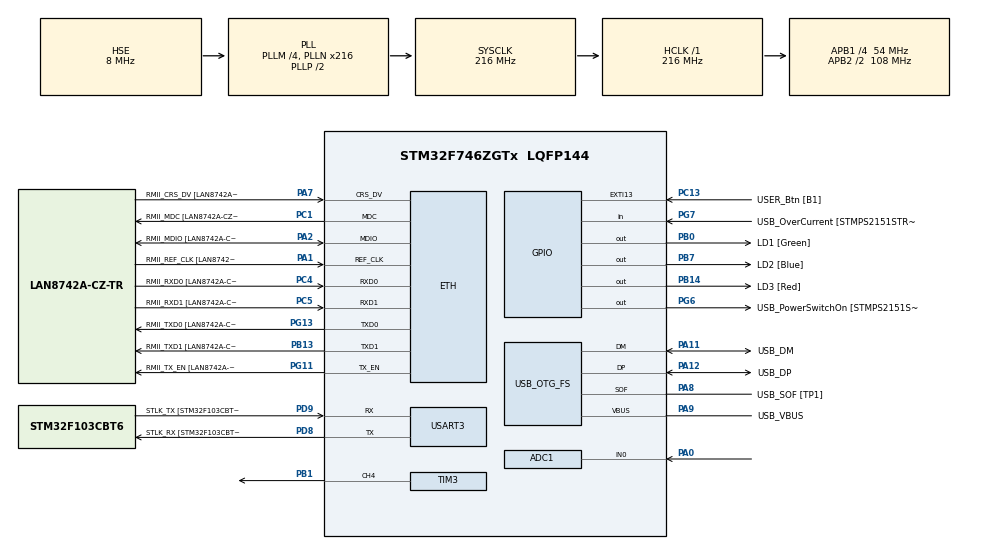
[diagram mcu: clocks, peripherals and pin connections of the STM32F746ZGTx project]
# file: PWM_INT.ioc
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ADC1.ContinuousConvMode=ENABLE
ADC1.EnableAnalogWatchDog=false
ADC1.InjNumberOfConversion=0
ADC1.NbrOfConversion=1
ADC1.NbrOfConversionFlag=1
ADC1.SamplingTime-0\#ChannelRegularConversion=ADC_SAMPLETIME_28CYCLES
ADC1.master=1
Dma.ADC1.0.Direction=DMA_PERIPH_TO_MEMORY
Dma.ADC1.0.FIFOMode=DMA_FIFOMODE_DISABLE
Dma.ADC1.0.Instance=DMA2_Stream0
Dma.ADC1.0.MemDataAlignment=DMA_MDATAALIGN_WORD
Dma.ADC1.0.MemInc=DMA_MINC_ENABLE
Dma.ADC1.0.Mode=DMA_CIRCULAR
Dma.ADC1.0.PeriphDataAlignment=DMA_PDATAALIGN_WORD
Dma.ADC1.0.PeriphInc=DMA_PINC_DISABLE
Dma.ADC1.0.Priority=DMA_PRIORITY_LOW
Dma.Request0=ADC1
ETH.MediaInterface=ETH_MEDIA_INTERFACE_RMII
ETH.PHY_Name=LAN8742A_PHY_ADDRESS
ETH.PHY_Value=0
ETH.PhyAddress=0
Mcu.Family=STM32F7
Mcu.Name=STM32F746ZGTx
Mcu.Package=LQFP144
NVIC.ADC_IRQn=true\:0\:0\:false\:false\:true\:true\:true\:true
NVIC.DMA2_Stream0_IRQn=true\:0\:0\:false\:false\:true\:false\:true\:true
NVIC.PriorityGroup=NVIC_PRIORITYGROUP_4
NVIC.TIM7_IRQn=true\:0\:0\:false\:false\:true\:true\:true\:true
PA0/WKUP.Signal=ADCx_IN0
PA1.GPIO_Label=RMII_REF_CLK [LAN8742A-CZ-TR_REFCLK0]
PA1.Mode=RMII
PA1.Signal=ETH_REF_CLK
PA10.GPIO_Label=USB_ID
PA10.Signal=USB_OTG_FS_ID
PA11.GPIO_Label=USB_DM
PA11.Mode=Device_Only
PA11.Signal=USB_OTG_FS_DM
PA12.GPIO_Label=USB_DP
PA12.Mode=Device_Only
PA12.Signal=USB_OTG_FS_DP
PA13.GPIO_Label=TMS
PA13.Mode=Serial_Wire
PA13.Signal=SYS_JTMS-SWDIO
PA14.GPIO_Label=TCK
PA14.Mode=Serial_Wire
PA14.Signal=SYS_JTCK-SWCLK
PA2.GPIO_Label=RMII_MDIO [LAN8742A-CZ-TR_MDIO]
PA2.Mode=RMII
PA2.Signal=ETH_MDIO
PA7.GPIO_Label=RMII_CRS_DV [LAN8742A-CZ-TR_CRS_DV]
PA7.Mode=RMII
PA7.Signal=ETH_CRS_DV
PA8.GPIO_Label=USB_SOF [TP1]
PA8.Mode=Activate_SOF_FS
PA8.Signal=USB_OTG_FS_SOF
PA9.GPIO_Label=USB_VBUS
PA9.Mode=Activate_VBUS
PA9.Signal=USB_OTG_FS_VBUS
PB0.GPIO_Label=LD1 [Green]
PB0.Signal=GPIO_Output
PB1.Signal=S_TIM3_CH4
PB13.GPIO_Label=RMII_TXD1 [LAN8742A-CZ-TR_TXD1]
PB13.Mode=RMII
PB13.Signal=ETH_TXD1
PB14.GPIO_Label=LD3 [Red]
PB14.Signal=GPIO_Output
PB3.GPIO_Label=SW0
PB3.Signal=SYS_JTDO-SWO
PB7.GPIO_Label=LD2 [Blue]
PB7.Signal=GPIO_Output
PC1.GPIO_Label=RMII_MDC [LAN8742A-CZ-TR_MDC]
PC1.Mode=RMII
PC1.Signal=ETH_MDC
PC13.GPIO_Label=USER_Btn [B1]
PC13.Signal=GPXTI13
PC14/OSC32_IN.Signal=RCC_OSC32_IN
PC15/OSC32_OUT.Signal=RCC_OSC32_OUT
PC4.GPIO_Label=RMII_RXD0 [LAN8742A-CZ-TR_RXD0]
PC4.Mode=RMII
PC4.Signal=ETH_RXD0
PC5.GPIO_Label=RMII_RXD1 [LAN8742A-CZ-TR_RXD1]
PC5.Mode=RMII
PC5.Signal=ETH_RXD1
PD8.GPIO_Label=STLK_RX [STM32F103CBT6_PA3]
PD8.Mode=Asynchronous
PD8.Signal=USART3_TX
PD9.GPIO_Label=STLK_TX [STM32F103CBT6_PA2]
PD9.Mode=Asynchronous
PD9.Signal=USART3_RX
PG11.GPIO_Label=RMII_TX_EN [LAN8742A-CZ-TR_TXEN]
PG11.Mode=RMII
PG11.Signal=ETH_TX_EN
PG13.GPIO_Label=RMII_TXD0 [LAN8742A-CZ-TR_TXD0]
PG13.Mode=RMII
PG13.Signal=ETH_TXD0
PG6.GPIO_Label=USB_PowerSwitchOn [STMPS2151STR_EN]
PG6.Signal=GPIO_Output
PG7.GPIO_Label=USB_OverCurrent [STMPS2151STR_FAULT]
PG7.Signal=GPIO_Input
PH0/OSC_IN.GPIO_Label=MCO [STM32F103CBT6_PA8]
PH0/OSC_IN.Mode=HSE-External-Oscillator
PH0/OSC_IN.Signal=RCC_OSC_IN
PH1/OSC_OUT.Mode=HSE-External-Oscillator
PH1/OSC_OUT.Signal=RCC_OSC_OUT
ProjectManager.HeapSize=0x200
ProjectManager.StackSize=0x400
ProjectManager.TargetToolchain=STM32CubeIDE
RCC.48MHZClocksFreq_Value=24000000
RCC.AHBFreq_Value=216000000
RCC.APB1CLKDivider=RCC_HCLK_DIV4
RCC.APB1Freq_Value=54000000
RCC.APB1TimFreq_Value=108000000
RCC.APB2CLKDivider=RCC_HCLK_DIV2
RCC.APB2Freq_Value=108000000
RCC.APB2TimFreq_Value=216000000
RCC.CortexFreq_Value=216000000
RCC.HCLKFreq_Value=216000000
RCC.HSE_VALUE=8000000
RCC.HSI_VALUE=16000000
RCC.LSE_VALUE=32768
RCC.PLLM=4
RCC.PLLMUL=RCC_PLL_MUL9
RCC.PLLN=216
RCC.PLLQ=9
RCC.PRESCALERUSB=RCC_USBCLKSOURCE_PLL_DIV1_5
RCC.SYSCLKFreq_VALUE=216000000
RCC.SYSCLKSource=RCC_SYSCLKSOURCE_PLLCLK
RCC.SYSCLKSourceVirtual=RCC_SYSCLKSOURCE_PLLCLK
RCC.USBFreq_Value=48000000
RCC.VCOOutputFreq_Value=432000000
SH.ADCx_IN0.0=ADC1_IN0,IN0
SH.S_TIM3_CH4.0=TIM3_CH4,PWM Generation4 CH4
TIM3.Channel-PWM\ Generation4\ CH4=TIM_CHANNEL_4
TIM3.Period=ARR
TIM3.Prescaler=PSC
TIM7.Period=5000
TIM7.Prescaler=840
USART3.VirtualMode-Asynchronous=VM_ASYNC
USB_OTG_FS.VirtualMode=Device_Only
VP_ADC1_TempSens_Input.Mode=IN-TempSens
VP_TIM3_VS_ClockSourceINT.Mode=Internal
VP_TIM7_VS_ClockSourceINT.Mode=Enable_Timer
board=NUCLEO-F746ZG

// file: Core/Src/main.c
/* USER CODE BEGIN Header */
/**
  ******************************************************************************
  * @file           : main.c
  * @brief          : Main program body
  ******************************************************************************
  * @attention
  *
  * <h2><center>&copy; Copyright (c) 2021 STMicroelectronics.
  * All rights reserved.</center></h2>
  *
  * This software component is licensed by ST under BSD 3-Clause license,
  * the "License"; You may not use this file except in compliance with the
  * License. You may obtain a copy of the License at:
  *                        opensource.org/licenses/BSD-3-Clause
  *
  ******************************************************************************
  */
/* USER CODE END Header */
#include "main.h"

/* USER CODE BEGIN Includes */
#define PSC 210
#define ARR 400
/* USER CODE END Includes */

ADC_HandleTypeDef hadc1;
DMA_HandleTypeDef hdma_adc1;

ETH_HandleTypeDef heth;

TIM_HandleTypeDef htim3;
TIM_HandleTypeDef htim7;

UART_HandleTypeDef huart3;

PCD_HandleTypeDef hpcd_USB_OTG_FS;

void SystemClock_Config(void);
static void MX_GPIO_Init(void);
static void MX_ETH_Init(void);
static void MX_TIM3_Init(void);
static void MX_TIM7_Init(void);
static void MX_USART3_UART_Init(void);
static void MX_ADC1_Init(void);
static void MX_DMA_Init(void);
static void MX_USB_OTG_FS_PCD_Init(void);

/* USER CODE BEGIN 0 */
#define Avg_Slope .0025
#define V25 0.76
#define VSENSE 3.3/4096

uint32_t ADC_VAL = 0;
float Temp = 0;

void HAL_ADC_ConvCpltCallback(ADC_HandleTypeDef* hadc)
{
	Temp = ((V25 - VSENSE*ADC_VAL)/ Avg_Slope) + 25;
}

/* USER CODE END 0 */

int main(void)
{

  /* MCU Configuration--------------------------------------------------------*/

  /* Reset of all peripherals, Initializes the Flash interface and the Systick. */
  HAL_Init();

  /* Configure the system clock */
  SystemClock_Config();

  /* Initialize all configured peripherals */
  MX_GPIO_Init();
//  MX_ETH_Init();
  MX_TIM3_Init();
  MX_TIM7_Init();
  MX_USART3_UART_Init();
  MX_ADC1_Init();
  MX_DMA_Init();
  MX_USB_OTG_FS_PCD_Init();
  /* USER CODE BEGIN 2 */
  HAL_TIM_PWM_Start(&htim3, TIM_CHANNEL_4);
  HAL_ADC_Start_DMA(&hadc1, &ADC_VAL, ADC_VAL);
  /* USER CODE END 2 */

  /* Infinite loop */
  /* USER CODE BEGIN WHILE */
  HAL_NVIC_SetPriority(TIM7_IRQn,0, 0);
  HAL_NVIC_EnableIRQ(TIM7_IRQn);

  while (1)
  {
    /* USER CODE END WHILE */

    /* USER CODE BEGIN 3 */
	  TIM3->CCR4
	  = 400;
	  HAL_GPIO_TogglePin(GPIOB, LD3_Pin);

  }
  /* USER CODE END 3 */
}

void SystemClock_Config(void)
{
  RCC_OscInitTypeDef RCC_OscInitStruct = {0};
  RCC_ClkInitTypeDef RCC_ClkInitStruct = {0};
  RCC_PeriphCLKInitTypeDef PeriphClkInitStruct = {0};

  /** Configure the main internal regulator output voltage
  */
  __HAL_RCC_PWR_CLK_ENABLE();
  __HAL_PWR_VOLTAGESCALING_CONFIG(PWR_REGULATOR_VOLTAGE_SCALE1);
  /** Initializes the RCC Oscillators according to the specified parameters
  * in the RCC_OscInitTypeDef structure.
  */
  RCC_OscInitStruct.OscillatorType = RCC_OSCILLATORTYPE_HSE;
  RCC_OscInitStruct.HSEState = RCC_HSE_ON;
  RCC_OscInitStruct.PLL.PLLState = RCC_PLL_ON;
  RCC_OscInitStruct.PLL.PLLSource = RCC_PLLSOURCE_HSE;
  RCC_OscInitStruct.PLL.PLLM = 4;
  RCC_OscInitStruct.PLL.PLLN = 216;
  RCC_OscInitStruct.PLL.PLLP = RCC_PLLP_DIV2;
  RCC_OscInitStruct.PLL.PLLQ = 9;
  if (HAL_RCC_OscConfig(&RCC_OscInitStruct) != HAL_OK)
  {
    Error_Handler();
  }
  /** Activate the Over-Drive mode
  */
  if (HAL_PWREx_EnableOverDrive() != HAL_OK)
  {
    Error_Handler();
  }
  /** Initializes the CPU, AHB and APB buses clocks
  */
  RCC_ClkInitStruct.ClockType = RCC_CLOCKTYPE_HCLK|RCC_CLOCKTYPE_SYSCLK
                              |RCC_CLOCKTYPE_PCLK1|RCC_CLOCKTYPE_PCLK2;
  RCC_ClkInitStruct.SYSCLKSource = RCC_SYSCLKSOURCE_PLLCLK;
  RCC_ClkInitStruct.AHBCLKDivider = RCC_SYSCLK_DIV1;
  RCC_ClkInitStruct.APB1CLKDivider = RCC_HCLK_DIV4;
  RCC_ClkInitStruct.APB2CLKDivider = RCC_HCLK_DIV2;

  if (HAL_RCC_ClockConfig(&RCC_ClkInitStruct, FLASH_LATENCY_7) != HAL_OK)
  {
    Error_Handler();
  }
  PeriphClkInitStruct.PeriphClockSelection = RCC_PERIPHCLK_USART3|RCC_PERIPHCLK_CLK48;
  PeriphClkInitStruct.Usart3ClockSelection = RCC_USART3CLKSOURCE_PCLK1;
  PeriphClkInitStruct.Clk48ClockSelection = RCC_CLK48SOURCE_PLL;
  if (HAL_RCCEx_PeriphCLKConfig(&PeriphClkInitStruct) != HAL_OK)
  {
    Error_Handler();
  }
}

static void MX_ADC1_Init(void)
{

  ADC_ChannelConfTypeDef sConfig = {0};

  /** Configure the global features of the ADC (Clock, Resolution, Data Alignment and number of conversion)
  */
  hadc1.Instance = ADC1;
  hadc1.Init.ClockPrescaler = ADC_CLOCK_SYNC_PCLK_DIV4;
  hadc1.Init.Resolution = ADC_RESOLUTION_12B;
  hadc1.Init.ScanConvMode = ADC_SCAN_DISABLE;
  hadc1.Init.ContinuousConvMode = ENABLE;
  hadc1.Init.DiscontinuousConvMode = DISABLE;
  hadc1.Init.ExternalTrigConvEdge = ADC_EXTERNALTRIGCONVEDGE_NONE;
  hadc1.Init.ExternalTrigConv = ADC_SOFTWARE_START;
  hadc1.Init.DataAlign = ADC_DATAALIGN_RIGHT;
  hadc1.Init.NbrOfConversion = 1;
  hadc1.Init.DMAContinuousRequests = DISABLE;
  hadc1.Init.EOCSelection = ADC_EOC_SINGLE_CONV;
  if (HAL_ADC_Init(&hadc1) != HAL_OK)
  {
    Error_Handler();
  }
  /** Configure for the selected ADC regular channel its corresponding rank in the sequencer and its sample time.
  */
  sConfig.Channel = ADC_CHANNEL_0;
  sConfig.Rank = ADC_REGULAR_RANK_1;
  sConfig.SamplingTime = ADC_SAMPLETIME_28CYCLES;
  if (HAL_ADC_ConfigChannel(&hadc1, &sConfig) != HAL_OK)
  {
    Error_Handler();
  }

}

static void MX_ETH_Init(void)
{

   static uint8_t MACAddr[6];

  heth.Instance = ETH;
  heth.Init.AutoNegotiation = ETH_AUTONEGOTIATION_ENABLE;
  heth.Init.Speed = ETH_SPEED_100M;
  heth.Init.DuplexMode = ETH_MODE_FULLDUPLEX;
  heth.Init.PhyAddress = LAN8742A_PHY_ADDRESS;
  MACAddr[0] = 0x00;
  MACAddr[1] = 0x80;
  MACAddr[2] = 0xE1;
  MACAddr[3] = 0x00;
  MACAddr[4] = 0x00;
  MACAddr[5] = 0x00;
  heth.Init.MACAddr = &MACAddr[0];
  heth.Init.RxMode = ETH_RXPOLLING_MODE;
  heth.Init.ChecksumMode = ETH_CHECKSUM_BY_HARDWARE;
  heth.Init.MediaInterface = ETH_MEDIA_INTERFACE_RMII;

  if (HAL_ETH_Init(&heth) != HAL_OK)
  {
    Error_Handler();
  }

}

static void MX_TIM3_Init(void)
{

  TIM_ClockConfigTypeDef sClockSourceConfig = {0};
  TIM_MasterConfigTypeDef sMasterConfig = {0};
  TIM_OC_InitTypeDef sConfigOC = {0};

  htim3.Instance = TIM3;
  htim3.Init.Prescaler = PSC;
  htim3.Init.CounterMode = TIM_COUNTERMODE_UP;
  htim3.Init.Period = ARR;
  htim3.Init.ClockDivision = TIM_CLOCKDIVISION_DIV1;
  htim3.Init.AutoReloadPreload = TIM_AUTORELOAD_PRELOAD_DISABLE;
  if (HAL_TIM_Base_Init(&htim3) != HAL_OK)
  {
    Error_Handler();
  }
  sClockSourceConfig.ClockSource = TIM_CLOCKSOURCE_INTERNAL;
  if (HAL_TIM_ConfigClockSource(&htim3, &sClockSourceConfig) != HAL_OK)
  {
    Error_Handler();
  }
  if (HAL_TIM_PWM_Init(&htim3) != HAL_OK)
  {
    Error_Handler();
  }
  sMasterConfig.MasterOutputTrigger = TIM_TRGO_RESET;
  sMasterConfig.MasterSlaveMode = TIM_MASTERSLAVEMODE_DISABLE;
  if (HAL_TIMEx_MasterConfigSynchronization(&htim3, &sMasterConfig) != HAL_OK)
  {
    Error_Handler();
  }
  sConfigOC.OCMode = TIM_OCMODE_PWM1;
  sConfigOC.Pulse = 0;
  sConfigOC.OCPolarity = TIM_OCPOLARITY_HIGH;
  sConfigOC.OCFastMode = TIM_OCFAST_DISABLE;
  if (HAL_TIM_PWM_ConfigChannel(&htim3, &sConfigOC, TIM_CHANNEL_4) != HAL_OK)
  {
    Error_Handler();
  }
  HAL_TIM_MspPostInit(&htim3);

}

static void MX_TIM7_Init(void)
{

  TIM_MasterConfigTypeDef sMasterConfig = {0};

  htim7.Instance = TIM7;
  htim7.Init.Prescaler = 840;
  htim7.Init.CounterMode = TIM_COUNTERMODE_UP;
  htim7.Init.Period = 5000;
  htim7.Init.AutoReloadPreload = TIM_AUTORELOAD_PRELOAD_DISABLE;
  if (HAL_TIM_Base_Init(&htim7) != HAL_OK)
  {
    Error_Handler();
  }
  sMasterConfig.MasterOutputTrigger = TIM_TRGO_RESET;
  sMasterConfig.MasterSlaveMode = TIM_MASTERSLAVEMODE_DISABLE;
  if (HAL_TIMEx_MasterConfigSynchronization(&htim7, &sMasterConfig) != HAL_OK)
  {
    Error_Handler();
  }
  /* USER CODE BEGIN TIM7_Init 2 */
  HAL_TIM_Base_Start_IT(&htim7);

  /* USER CODE END TIM7_Init 2 */

}

static void MX_USART3_UART_Init(void)
{

  huart3.Instance = USART3;
  huart3.Init.BaudRate = 115200;
  huart3.Init.WordLength = UART_WORDLENGTH_8B;
  huart3.Init.StopBits = UART_STOPBITS_1;
  huart3.Init.Parity = UART_PARITY_NONE;
  huart3.Init.Mode = UART_MODE_TX_RX;
  huart3.Init.HwFlowCtl = UART_HWCONTROL_NONE;
  huart3.Init.OverSampling = UART_OVERSAMPLING_16;
  huart3.Init.OneBitSampling = UART_ONE_BIT_SAMPLE_DISABLE;
  huart3.AdvancedInit.AdvFeatureInit = UART_ADVFEATURE_NO_INIT;
  if (HAL_UART_Init(&huart3) != HAL_OK)
  {
    Error_Handler();
  }

}

static void MX_USB_OTG_FS_PCD_Init(void)
{

  hpcd_USB_OTG_FS.Instance = USB_OTG_FS;
  hpcd_USB_OTG_FS.Init.dev_endpoints = 6;
  hpcd_USB_OTG_FS.Init.speed = PCD_SPEED_FULL;
  hpcd_USB_OTG_FS.Init.dma_enable = DISABLE;
  hpcd_USB_OTG_FS.Init.phy_itface = PCD_PHY_EMBEDDED;
  hpcd_USB_OTG_FS.Init.Sof_enable = ENABLE;
  hpcd_USB_OTG_FS.Init.low_power_enable = DISABLE;
  hpcd_USB_OTG_FS.Init.lpm_enable = DISABLE;
  hpcd_USB_OTG_FS.Init.vbus_sensing_enable = ENABLE;
  hpcd_USB_OTG_FS.Init.use_dedicated_ep1 = DISABLE;
  if (HAL_PCD_Init(&hpcd_USB_OTG_FS) != HAL_OK)
  {
    Error_Handler();
  }

}

static void MX_DMA_Init(void)
{

  /* DMA controller clock enable */
  __HAL_RCC_DMA2_CLK_ENABLE();

  /* DMA interrupt init */
  /* DMA2_Stream0_IRQn interrupt configuration */
  HAL_NVIC_SetPriority(DMA2_Stream0_IRQn, 0, 0);
  HAL_NVIC_EnableIRQ(DMA2_Stream0_IRQn);

}

static void MX_GPIO_Init(void)
{
  GPIO_InitTypeDef GPIO_InitStruct = {0};

  /* GPIO Ports Clock Enable */
  __HAL_RCC_GPIOC_CLK_ENABLE();
  __HAL_RCC_GPIOH_CLK_ENABLE();
  __HAL_RCC_GPIOA_CLK_ENABLE();
  __HAL_RCC_GPIOB_CLK_ENABLE();
  __HAL_RCC_GPIOD_CLK_ENABLE();
  __HAL_RCC_GPIOG_CLK_ENABLE();

  /*Configure GPIO pin Output Level */
  HAL_GPIO_WritePin(GPIOB, LD1_Pin|LD3_Pin|LD2_Pin, GPIO_PIN_RESET);

  /*Configure GPIO pin Output Level */
  HAL_GPIO_WritePin(USB_PowerSwitchOn_GPIO_Port, USB_PowerSwitchOn_Pin, GPIO_PIN_RESET);

  /*Configure GPIO pin : USER_Btn_Pin */
  GPIO_InitStruct.Pin = USER_Btn_Pin;
  GPIO_InitStruct.Mode = GPIO_MODE_IT_RISING;
  GPIO_InitStruct.Pull = GPIO_NOPULL;
  HAL_GPIO_Init(USER_Btn_GPIO_Port, &GPIO_InitStruct);

  /*Configure GPIO pins : LD1_Pin LD3_Pin LD2_Pin */
  GPIO_InitStruct.Pin = LD1_Pin|LD3_Pin|LD2_Pin;
  GPIO_InitStruct.Mode = GPIO_MODE_OUTPUT_PP;
  GPIO_InitStruct.Pull = GPIO_NOPULL;
  GPIO_InitStruct.Speed = GPIO_SPEED_FREQ_LOW;
  HAL_GPIO_Init(GPIOB, &GPIO_InitStruct);

  /*Configure GPIO pin : USB_PowerSwitchOn_Pin */
  GPIO_InitStruct.Pin = USB_PowerSwitchOn_Pin;
  GPIO_InitStruct.Mode = GPIO_MODE_OUTPUT_PP;
  GPIO_InitStruct.Pull = GPIO_NOPULL;
  GPIO_InitStruct.Speed = GPIO_SPEED_FREQ_LOW;
  HAL_GPIO_Init(USB_PowerSwitchOn_GPIO_Port, &GPIO_InitStruct);

  /*Configure GPIO pin : USB_OverCurrent_Pin */
  GPIO_InitStruct.Pin = USB_OverCurrent_Pin;
  GPIO_InitStruct.Mode = GPIO_MODE_INPUT;
  GPIO_InitStruct.Pull = GPIO_NOPULL;
  HAL_GPIO_Init(USB_OverCurrent_GPIO_Port, &GPIO_InitStruct);

}

void Error_Handler(void)
{
  __disable_irq();
  while (1)
  {
  }
}

/************************ (C) COPYRIGHT STMicroelectronics *****END OF FILE****/
